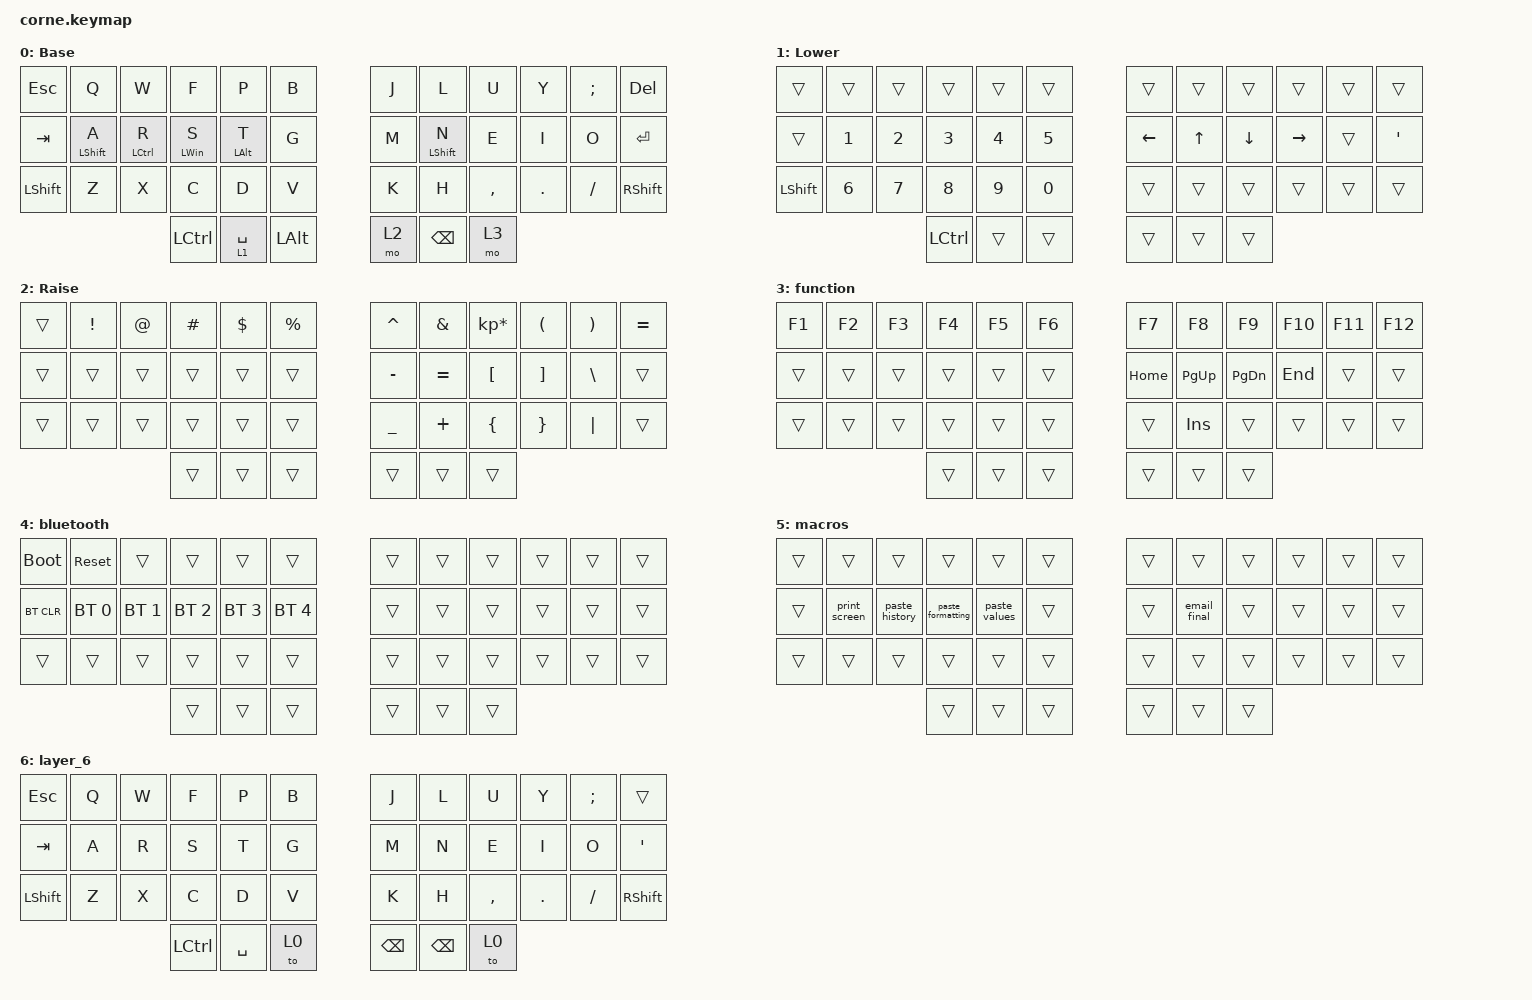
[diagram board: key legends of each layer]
/*
 * Copyright (c) 2020 The ZMK Contributors
 *
 * SPDX-License-Identifier: MIT
 */

#include <behaviors.dtsi>
#include <dt-bindings/zmk/bt.h>
#include <dt-bindings/zmk/keys.h>

/ {
    combos {
        compatible = "zmk,combos";

        l {
            bindings = <&sl 4>;
            key-positions = <5 17>;
        };

        macros {
            bindings = <&sl 5>;
            key-positions = <16 19>;
        };

        gaming {
            bindings = <&to 6>;
            key-positions = <6 18>;
        };
    };

    macros {
        print_screen: print_screen {
            compatible = "zmk,behavior-macro";
            #binding-cells = <0>;
            bindings = <&kp LEFT_SHIFT &kp LEFT_WIN &kp S>;
            label = "PRINT_SCREEN";
        };

        paste_history: paste_history {
            compatible = "zmk,behavior-macro";
            #binding-cells = <0>;
            bindings = <&kp LEFT_WIN &kp V>;
            label = "PASTE_HISTORY";
        };

        paste_values: paste_values {
            compatible = "zmk,behavior-macro";
            #binding-cells = <0>;
            bindings = <&kp LEFT_ALT &kp H &kp V &kp V>;
            label = "PASTE_VALUES";
        };

        paste_formatting: paste_formatting {
            compatible = "zmk,behavior-macro";
            #binding-cells = <0>;
            bindings = <&kp LEFT_ALT &kp H &kp V &kp R>;
            label = "PASTE_FORMATTING";
        };

        email_final: create_table {
            compatible = "zmk,behavior-macro";
            #binding-cells = <0>;
            bindings = <&kp LS(R) &kp E &kp G &kp A &kp R &kp D &kp S &kp COMMA &kp RET &kp LS(D) &kp A &kp N &kp I &kp E &kp L &kp SPACE &kp LS(J) &kp I &kp N>;
            label = "CREATE_TABLE";
        };
    };

    keymap {
        compatible = "zmk,keymap";

        colmak_dh {
            // -----------------------------------------------------------------------------------------
            // |  TAB |  Q  |  W  |  E  |  R  |  T  |   |  Y  |  U   |  I  |  O  |  P  | BKSP |
            // | CTRL |  A  |  S  |  D  |  F  |  G  |   |  H  |  J   |  K  |  L  |  ;  |  '   |
            // | SHFT |  Z  |  X  |  C  |  V  |  B  |   |  N  |  M   |  ,  |  .  |  /  | ESC  |
            //                    | GUI | LWR | SPC |   | ENT | RSE  | ALT |

            display-name = "Base";
            bindings = <
&kp ESC     &kp Q             &kp W               &kp F             &kp P           &kp B           &kp J  &kp L             &kp U      &kp Y    &kp SEMICOLON  &kp DEL
&kp TAB     &mt LEFT_SHIFT A  &mt LEFT_CONTROL R  &mt LEFT_WIN S    &mt LEFT_ALT T  &kp G           &kp M  &mt LEFT_SHIFT N  &kp E      &kp I    &kp O          &kp ENTER
&kp LSHIFT  &kp Z             &kp X               &kp C             &kp D           &kp V           &kp K  &kp H             &kp COMMA  &kp DOT  &kp FSLH       &kp RIGHT_SHIFT
                                                  &kp LEFT_CONTROL  &lt 1 SPACE     &kp LEFT_ALT    &mo 2  &kp BACKSPACE     &mo 3
            >;
        };

        num {
            // -----------------------------------------------------------------------------------------
            // |  TAB |  1  |  2  |  3  |  4  |  5  |   |  6  |  7  |  8  |  9  |  0  | BKSP |
            // | BTCLR| BT1 | BT2 | BT3 | BT4 | BT5 |   | LFT | DWN |  UP | RGT |     |      |
            // | SHFT |     |     |     |     |     |   |     |     |     |     |     |      |
            //                    | GUI |     | SPC |   | ENT |     | ALT |

            display-name = "Lower";
            bindings = <
&trans      &trans        &trans        &trans            &trans  &trans    &trans    &trans        &trans    &trans     &trans  &trans
&trans      &kp NUMBER_1  &kp NUMBER_2  &kp NUMBER_3      &kp N4  &kp N5    &kp LEFT  &kp UP_ARROW  &kp DOWN  &kp RIGHT  &trans  &kp SQT
&kp LSHIFT  &kp NUMBER_6  &kp N7        &kp N8            &kp N9  &kp N0    &trans    &trans        &trans    &trans     &trans  &trans
                                        &kp LEFT_CONTROL  &trans  &trans    &trans    &trans        &trans
            >;
        };

        symbols {
            // -----------------------------------------------------------------------------------------
            // |  TAB |  !  |  @  |  #  |  $  |  %  |   |  ^  |  &  |  *  |  (  |  )  | BKSP |
            // | CTRL |     |     |     |     |     |   |  -  |  =  |  [  |  ]  |  \  |  `   |
            // | SHFT |     |     |     |     |     |   |  _  |  +  |  {  |  }  | "|" |  ~   |
            //                    | GUI |     | SPC |   | ENT |     | ALT |

            display-name = "Raise";
            bindings = <
&trans  &kp EXCL  &kp AT  &kp HASH  &kp DLLR  &kp PRCNT    &kp CARET  &kp AMPS   &kp KP_MULTIPLY  &kp LPAR  &kp RPAR  &kp EQUAL
&trans  &trans    &trans  &trans    &trans    &trans       &kp MINUS  &kp EQUAL  &kp LBKT         &kp RBKT  &kp BSLH  &trans
&trans  &trans    &trans  &trans    &trans    &trans       &kp UNDER  &kp PLUS   &kp LBRC         &kp RBRC  &kp PIPE  &trans
                          &trans    &trans    &trans       &trans     &trans     &trans
            >;
        };

        function {
            bindings = <
&kp F1  &kp F2  &kp F3  &kp F4  &kp F5  &kp F6    &kp F7    &kp F8       &kp F9         &kp F10  &kp F11  &kp F12
&trans  &trans  &trans  &trans  &trans  &trans    &kp HOME  &kp PAGE_UP  &kp PAGE_DOWN  &kp END  &trans   &trans
&trans  &trans  &trans  &trans  &trans  &trans    &trans    &kp INS      &trans         &trans   &trans   &trans
                        &trans  &trans  &trans    &trans    &trans       &trans
            >;
        };

        bluetooth {
            bindings = <
&bootloader  &sys_reset    &trans        &trans        &trans        &trans          &trans  &trans  &trans  &trans  &trans  &trans
&bt BT_CLR   &bt BT_SEL 0  &bt BT_SEL 1  &bt BT_SEL 2  &bt BT_SEL 3  &bt BT_SEL 4    &trans  &trans  &trans  &trans  &trans  &trans
&trans       &trans        &trans        &trans        &trans        &trans          &trans  &trans  &trans  &trans  &trans  &trans
                                         &trans        &trans        &trans          &trans  &trans  &trans
            >;
        };

        macros {
            bindings = <
&trans  &trans         &trans          &trans             &trans         &trans    &trans  &trans        &trans  &trans  &trans  &trans
&trans  &print_screen  &paste_history  &paste_formatting  &paste_values  &trans    &trans  &email_final  &trans  &trans  &trans  &trans
&trans  &trans         &trans          &trans             &trans         &trans    &trans  &trans        &trans  &trans  &trans  &trans
                                       &trans             &trans         &trans    &trans  &trans        &trans
            >;
        };

        layer_6 {
            bindings = <
&kp ESC    &kp Q  &kp W  &kp F      &kp P      &kp B    &kp J     &kp L     &kp U      &kp Y    &kp SEMI  &trans
&kp TAB    &kp A  &kp R  &kp S      &kp T      &kp G    &kp M     &kp N     &kp E      &kp I    &kp O     &kp APOS
&kp LSHFT  &kp Z  &kp X  &kp C      &kp D      &kp V    &kp K     &kp H     &kp COMMA  &kp DOT  &kp FSLH  &kp RSHFT
                         &kp LCTRL  &kp SPACE  &to 0    &kp BSPC  &kp BSPC  &to 0
            >;
        };
    };
};
